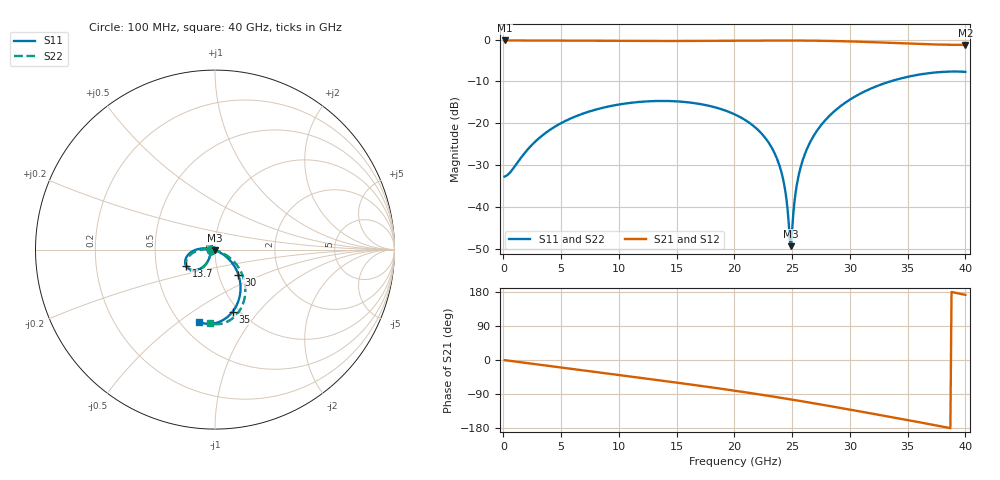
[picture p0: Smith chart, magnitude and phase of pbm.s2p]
! E_s8_L1L8_p1000_round_g4: reduced via model, differential mode (per line 50 ohm)
# Hz S RI R 50
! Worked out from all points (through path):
!   400 points, 100 MHz to 40 GHz, reference 50 ohm
!   highest |S21| = -0.20 dB at 100 MHz (marker M1); lowest = -1.3 dB at 40 GHz (marker M2)
!   group delay of S21, straight-line fit = 12.9 ps
!   lowest |S11| = -49.3 dB at 24.9 GHz (marker M3), VSWR 1.01, Z = 50 - j0.341 ohm
!   |S11| at or under -10 dB: start of sweep to 33.48 GHz
!   |S22| runs from -48.7 to -7.6 dB; largest |S21 - S12| = 0
!   S11 on the Smith chart (normalised r, x): 100 MHz: 0.95, -0.00; 13.7 GHz: 0.71, -0.14; 30 GHz: 1.24, -0.36; 35 GHz: 0.93, -0.74; 40 GHz: 0.62, -0.60
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1e8  -0.0231 -0.00191  0.9769 -0.00681  0.9769 -0.00681  -0.0231 -0.00192
3.3e9  -0.0375 -0.0598  0.9493 -0.2222  0.9493 -0.2222  -0.0368 -0.0602
6.8e9  -0.0779 -0.1035  0.8636 -0.4413  0.8636 -0.4413  -0.0751 -0.1055
1.34e10  -0.1587 -0.0952  0.5763 -0.7708  0.5763 -0.7708  -0.1535 -0.1033
1.37e10  -0.1606 -0.0922  0.5599 -0.7828  0.5599 -0.7828  -0.1555 -0.1006
2.01e10  -0.1262 -0.0098  0.1457 -0.9596  0.1457 -0.9596  -0.125 -0.0197
2.22e10  -0.0792 0.00576  -0.0168 -0.9742  -0.0168 -0.9742  -0.0794 -0.00121
2.36e10  -0.04 0.00598  -0.1304 -0.9669  -0.1304 -0.9669  -0.0404 0.00211
2.41e10  -0.0249 0.00355  -0.1716 -0.9605  -0.1716 -0.9605  -0.0251 0.000996
2.44e10  -0.0157 0.00139  -0.1964 -0.9557  -0.1964 -0.9557  -0.0158 -0.000322
2.46e10  -0.00947 -0.000346  -0.2129 -0.9521  -0.2129 -0.9521  -0.00944 -0.00148
2.48e10  -0.00324 -0.00233  -0.2294 -0.9481  -0.2294 -0.9481  -0.00306 -0.00288
2.49e10  -0.000112 -0.00342  -0.2377 -0.946  -0.2377 -0.946  0.000156 -0.00366
2.52e10  0.00927 -0.00705  -0.2624 -0.9391  -0.2624 -0.9391  0.00984 -0.00637
2.55e10  0.0187 -0.0113  -0.2871 -0.9313  -0.2871 -0.9313  0.0196 -0.00964
2.6e10  0.0342 -0.0196  -0.328 -0.9167  -0.328 -0.9167  0.0359 -0.0163
2.67e10  0.0553 -0.0339  -0.3844 -0.8923  -0.3844 -0.8923  0.0584 -0.0284
2.81e10  0.0936 -0.072  -0.4926 -0.8301  -0.4926 -0.8301  0.1007 -0.0618
3e10  0.1305 -0.1409  -0.6235 -0.7189  -0.6235 -0.7189  0.1456 -0.1252
3.34e10  0.1306 -0.2854  -0.7906 -0.4626  -0.7906 -0.4626  0.1657 -0.2666
3.5e10  0.0982 -0.3458  -0.8357 -0.3278  -0.8357 -0.3278  0.1433 -0.3297
4e10  -0.0883 -0.4025  -0.8562 0.1208  -0.8562 0.1208  -0.0262 -0.4112
